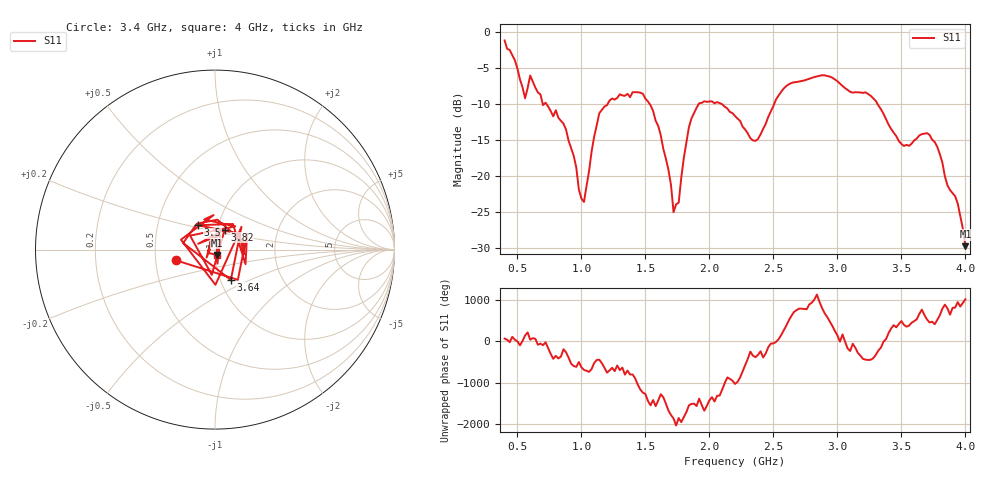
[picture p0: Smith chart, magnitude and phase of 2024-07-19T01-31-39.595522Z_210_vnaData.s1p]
!Created with skrf (http://scikit-rf.org).
# Hz S RI R 50.0
!freq ReS11 ImS11
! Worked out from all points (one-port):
!   181 points, 400 MHz to 4 GHz, reference 50 ohm
!   lowest |S11| = -29.7 dB at 4 GHz (marker M1), VSWR 1.07, Z = 51.1 - j3.1 ohm
!   |S11| at or under -10 dB: 725.4 MHz to 1.206 GHz (480.6 MHz wide, 49.8 % of centre); 2.091 GHz to 2.507 GHz (416.1 MHz wide, 18.1 % of centre); 3.313 GHz to end of sweep (the widest 3 of 5)
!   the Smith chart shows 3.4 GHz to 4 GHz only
!   S11 on the Smith chart (normalised r, x): 3.4 GHz: 0.64, -0.08; 3.5 GHz: 0.80, +0.22; 3.64 GHz: 1.12, -0.39; 3.82 GHz: 1.09, +0.25; 4 GHz: 1.02, -0.06
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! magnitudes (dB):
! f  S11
! 400 MHz  -1.2
! 560 MHz  -9.2
! 600 MHz  -6.1
! 700 MHz  -10.2
! 860 MHz  -12.8
! 1.02 GHz  -23.6
! 1.14 GHz  -11.3
! 1.3 GHz  -8.7
! 1.54 GHz  -10.2
! 1.68 GHz  -19.2
! 1.72 GHz  -25.0
! 1.76 GHz  -23.7
! 1.84 GHz  -13.3
! 1.92 GHz  -9.9
! 2.2 GHz  -11.7
! 2.36 GHz  -15.2
! 2.66 GHz  -7.0
! 2.9 GHz  -6.1
! 3.1 GHz  -8.3
! 3.26 GHz  -8.9
! 3.4 GHz  -12.9
! 3.5 GHz  -15.6
! 3.56 GHz  -15.8
! 3.64 GHz  -14.4
! 3.72 GHz  -14.3
! 3.82 GHz  -18.2
! 3.94 GHz  -23.8
! 4 GHz  -29.7
